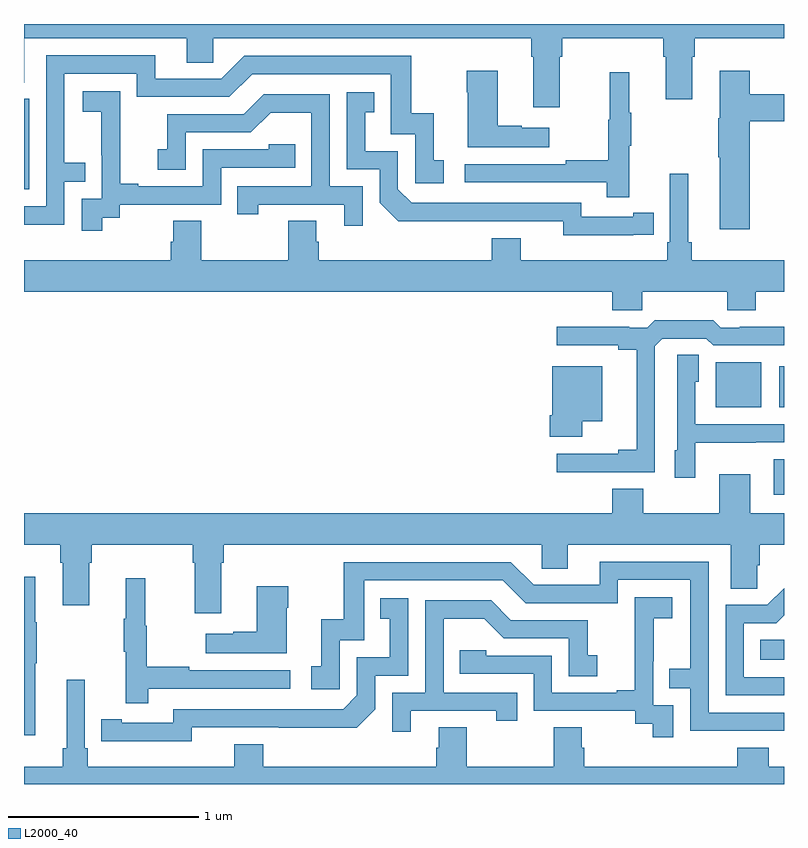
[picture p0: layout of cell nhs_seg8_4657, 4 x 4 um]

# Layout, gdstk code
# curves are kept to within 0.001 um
import gdstk
lib = gdstk.Library(unit=1e-6, precision=1e-09)
def R(c, l, rs):  # rectangles x0, y0, x1, y1
    for r in rs: c.add(gdstk.rectangle(r[:2], r[2:], *l))
def P(c, l, *ps):  # polygons
    for p in ps: c.add(gdstk.Polygon(p, *l))
L2000_40 = (2000, 40)

nhs_seg8_4657 = lib.new_cell('nhs_seg8_4657')
R(nhs_seg8_4657, L2000_40, [(396.874,1122.554,397,1122.658), (396.947,1123.422,397,1123.608), (396.641,1123.883,396.88,1124.119), (396.974,1123.883,397,1124.098), (393,1125.03,393.027,1125.507)])
P(nhs_seg8_4657, L2000_40, [(395.821,1125.728),(395.834,1125.728),(395.834,1125.824),(396.365,1125.824),(396.365,1125.728),(396.377,1125.728),(396.377,1125.504),(396.517,1125.504),(396.517,1125.728),(396.53,1125.728),(396.53,1125.824),(397,1125.824),(397,1125.9),(393,1125.9),(393,1125.592),(393.001,1125.592),(393.001,1125.824),(393.857,1125.824),(393.857,1125.697),(393.996,1125.697),(393.996,1125.824),(395.669,1125.824),(395.669,1125.728),(395.681,1125.728),(395.681,1125.462),(395.821,1125.462)],
  [(393.213,1125.069),(393.323,1125.069),(393.323,1125.17),(393.213,1125.17),(393.213,1125.639),(393.594,1125.639),(393.594,1125.516),(394.08,1125.516),(394.2,1125.636),(394.929,1125.636),(394.929,1125.321),(395.058,1125.321),(395.058,1125.063),(395.209,1125.063),(395.209,1125.183),(395.156,1125.183),(395.156,1125.43),(395.038,1125.43),(395.038,1125.732),(394.158,1125.732),(394.038,1125.612),(393.691,1125.612),(393.691,1125.735),(393.117,1125.735),(393.117,1124.94),(393,1124.94),(393,1124.844),(393.213,1124.844)],
  [(395.764,1125.355),(395.621,1125.355),(395.621,1125.365),(395.494,1125.365),(395.494,1125.655),(395.329,1125.655),(395.329,1125.542),(395.336,1125.542),(395.336,1125.251),(395.764,1125.251)],
  [(396.821,1125.389),(397,1125.389),(397,1125.531),(396.821,1125.531),(396.821,1125.655),(396.662,1125.655),(396.662,1125.405),(396.655,1125.405),(396.655,1125.199),(396.662,1125.199),(396.662,1124.82),(396.821,1124.82)],
  [(396.185,1125.259),(396.196,1125.259),(396.196,1125.433),(396.185,1125.433),(396.185,1125.646),(396.082,1125.646),(396.082,1125.396),(396.075,1125.396),(396.075,1125.182),(395.851,1125.182),(395.851,1125.162),(395.319,1125.162),(395.319,1125.066),(396.067,1125.066),(396.067,1124.988),(396.185,1124.988)],
  [(393.412,1124.881),(393.504,1124.881),(393.504,1124.949),(394.038,1124.949),(394.038,1125.144),(394.427,1125.144),(394.427,1125.267),(394.287,1125.267),(394.287,1125.24),(393.942,1125.24),(393.942,1125.045),(393.601,1125.045),(393.601,1125.058),(393.506,1125.058),(393.506,1125.341),(393.507,1125.341),(393.507,1125.547),(393.309,1125.547),(393.309,1125.437),(393.407,1125.437),(393.407,1125.209),(393.408,1125.209),(393.408,1124.979),(393.303,1124.979),(393.303,1124.811),(393.412,1124.811)],
  [(396.206,1124.79),(396.314,1124.79),(396.314,1124.906),(396.206,1124.906),(396.206,1124.886),(395.934,1124.886),(395.934,1124.958),(395.04,1124.958),(394.968,1125.03),(394.968,1125.231),(394.795,1125.231),(394.795,1125.435),(394.844,1125.435),(394.844,1125.541),(394.698,1125.541),(394.698,1125.135),(394.872,1125.135),(394.872,1124.958),(394.97,1124.861),(395.838,1124.862),(395.838,1124.789)],
  [(394.782,1125.045),(394.608,1125.045),(394.608,1125.531),(394.262,1125.531),(394.157,1125.426),(393.754,1125.426),(393.754,1125.241),(393.705,1125.241),(393.705,1125.132),(393.852,1125.132),(393.852,1125.33),(394.194,1125.33),(394.298,1125.434),(394.512,1125.434),(394.512,1125.045),(394.123,1125.045),(394.123,1124.898),(394.234,1124.898),(394.234,1124.949),(394.685,1124.949),(394.685,1124.838),(394.782,1124.838)],
  [(396.255,1124.492),(396.7,1124.492),(396.7,1124.394),(396.85,1124.394),(396.85,1124.492),(397,1124.492),(397,1124.656),(396.515,1124.656),(396.515,1124.752),(396.496,1124.752),(396.496,1125.112),(396.399,1125.112),(396.399,1124.752),(396.386,1124.752),(396.386,1124.656),(395.614,1124.656),(395.614,1124.773),(395.462,1124.773),(395.462,1124.656),(394.55,1124.656),(394.55,1124.754),(394.537,1124.754),(394.537,1124.864),(394.39,1124.864),(394.39,1124.656),(393.933,1124.656),(393.933,1124.864),(393.785,1124.864),(393.785,1124.754),(393.773,1124.754),(393.773,1124.656),(393,1124.656),(393,1124.492),(396.095,1124.492),(396.095,1124.394),(396.255,1124.394)],
  [(396.321,1124.205),(396.36,1124.244),(396.591,1124.244),(396.627,1124.208),(397,1124.208),(397,1124.306),(396.766,1124.306),(396.766,1124.301),(396.666,1124.301),(396.627,1124.341),(396.319,1124.341),(396.279,1124.301),(396.185,1124.301),(396.185,1124.306),(395.805,1124.306),(395.805,1124.208),(396.128,1124.208),(396.128,1124.186),(396.224,1124.186),(396.224,1123.658),(396.128,1123.658),(396.128,1123.638),(395.805,1123.638),(395.805,1123.542),(396.321,1123.542)],
  [(396.534,1123.697),(396.851,1123.697),(396.851,1123.698),(397,1123.698),(397,1123.794),(396.534,1123.794),(396.534,1124.016),(396.55,1124.016),(396.55,1124.159),(396.438,1124.159),(396.438,1123.656),(396.425,1123.656),(396.425,1123.512),(396.534,1123.512)],
  [(395.938,1123.808),(396.043,1123.808),(396.043,1124.098),(395.78,1124.098),(395.78,1123.84),(395.768,1123.84),(395.768,1123.728),(395.938,1123.728)],
  [(394.039,1123.064),(394.052,1123.064),(394.052,1123.16),(395.724,1123.16),(395.724,1123.033),(395.863,1123.033),(395.863,1123.16),(396.719,1123.16),(396.719,1122.928),(396.858,1122.928),(396.858,1123.051),(396.872,1123.051),(396.872,1123.16),(397,1123.16),(397,1123.324),(396.823,1123.324),(396.823,1123.531),(396.659,1123.531),(396.659,1123.324),(396.259,1123.324),(396.259,1123.453),(396.095,1123.453),(396.095,1123.324),(393,1123.324),(393,1123.16),(393.191,1123.16),(393.191,1123.064),(393.203,1123.064),(393.203,1122.84),(393.343,1122.84),(393.343,1123.064),(393.356,1123.064),(393.356,1123.16),(393.887,1123.16),(393.887,1123.064),(393.899,1123.064),(393.899,1122.798),(394.039,1122.798)],
  [(397,1122.276),(396.603,1122.276),(396.603,1123.071),(396.029,1123.071),(396.029,1122.948),(395.682,1122.948),(395.562,1123.068),(394.683,1123.068),(394.683,1122.766),(394.565,1122.766),(394.565,1122.519),(394.512,1122.519),(394.512,1122.399),(394.662,1122.399),(394.662,1122.657),(394.791,1122.657),(394.791,1122.972),(395.52,1122.972),(395.64,1122.852),(396.126,1122.852),(396.126,1122.975),(396.507,1122.975),(396.507,1122.506),(396.397,1122.506),(396.397,1122.405),(396.507,1122.405),(396.507,1122.18),(397,1122.18)],
  [(393.058,1122.535),(393.066,1122.535),(393.066,1122.752),(393.058,1122.752),(393.058,1122.991),(393,1122.991),(393,1122.156),(393.058,1122.156)],
  [(393.653,1122.402),(394.402,1122.402),(394.402,1122.498),(393.869,1122.498),(393.869,1122.518),(393.646,1122.518),(393.646,1122.732),(393.638,1122.732),(393.638,1122.982),(393.536,1122.982),(393.536,1122.769),(393.525,1122.769),(393.525,1122.595),(393.536,1122.595),(393.536,1122.324),(393.653,1122.324)],
  [(394.384,1122.827),(394.392,1122.827),(394.392,1122.94),(394.226,1122.94),(394.226,1122.701),(394.1,1122.701),(394.1,1122.691),(393.957,1122.691),(393.957,1122.587),(394.384,1122.587)],
  [(397,1122.462),(396.789,1122.462),(396.789,1122.747),(396.958,1122.747),(397,1122.789),(397,1122.931),(396.912,1122.843),(396.693,1122.843),(396.693,1122.366),(397,1122.366)],
  [(396.417,1122.315),(396.312,1122.315),(396.312,1122.545),(396.314,1122.545),(396.314,1122.773),(396.412,1122.773),(396.412,1122.883),(396.214,1122.883),(396.214,1122.677),(396.215,1122.677),(396.215,1122.394),(396.119,1122.394),(396.119,1122.381),(395.778,1122.381),(395.778,1122.576),(395.433,1122.576),(395.433,1122.603),(395.293,1122.603),(395.293,1122.48),(395.682,1122.48),(395.682,1122.285),(396.216,1122.285),(396.216,1122.217),(396.309,1122.217),(396.309,1122.147),(396.417,1122.147)],
  [(393.882,1122.198),(394.75,1122.197),(394.848,1122.294),(394.848,1122.471),(395.022,1122.471),(395.022,1122.877),(394.876,1122.877),(394.876,1122.771),(394.925,1122.771),(394.925,1122.567),(394.752,1122.567),(394.752,1122.366),(394.68,1122.294),(393.786,1122.294),(393.786,1122.222),(393.514,1122.222),(393.514,1122.242),(393.406,1122.242),(393.406,1122.126),(393.882,1122.125)],
  [(395.035,1122.285),(395.486,1122.285),(395.486,1122.234),(395.597,1122.234),(395.597,1122.381),(395.208,1122.381),(395.208,1122.77),(395.422,1122.77),(395.526,1122.666),(395.868,1122.666),(395.868,1122.468),(396.016,1122.468),(396.016,1122.577),(395.967,1122.577),(395.967,1122.762),(395.563,1122.762),(395.458,1122.867),(395.112,1122.867),(395.112,1122.381),(394.938,1122.381),(394.938,1122.174),(395.035,1122.174)],
  [(397,1121.992),(396.92,1121.992),(396.92,1122.091),(396.755,1122.091),(396.755,1121.992),(395.948,1121.992),(395.948,1122.09),(395.935,1122.09),(395.935,1122.2),(395.788,1122.2),(395.788,1121.992),(395.331,1121.992),(395.331,1122.2),(395.183,1122.2),(395.183,1122.09),(395.171,1122.09),(395.171,1121.992),(394.259,1121.992),(394.259,1122.109),(394.106,1122.109),(394.106,1121.992),(393.335,1121.992),(393.335,1122.088),(393.321,1122.088),(393.321,1122.448),(393.224,1122.448),(393.224,1122.088),(393.205,1122.088),(393.205,1121.992),(393,1121.992),(393,1121.9),(397,1121.9)])

lib.write_gds('nhs_seg8_4657.gds')
